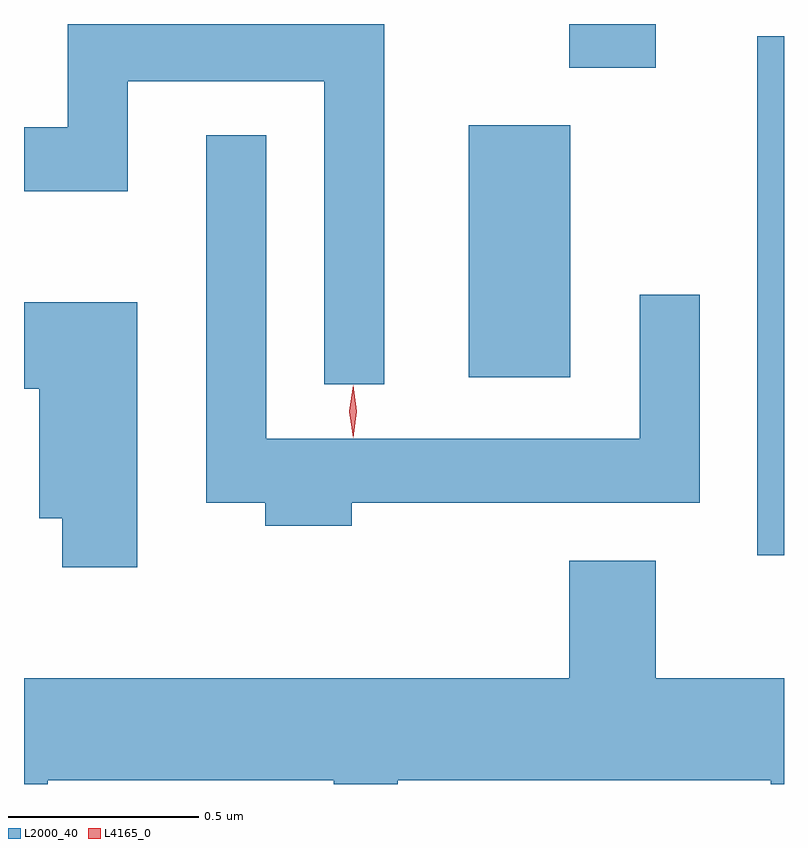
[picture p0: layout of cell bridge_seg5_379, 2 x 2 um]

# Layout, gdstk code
import gdstk
lib = gdstk.Library(unit=1e-6, precision=1e-09)
def R(c, l, rs):  # rectangles x0, y0, x1, y1
    for r in rs: c.add(gdstk.rectangle(r[:2], r[2:], *l))
def P(c, l, *ps):  # polygons
    for p in ps: c.add(gdstk.Polygon(p, *l))
L2000_40 = (2000, 40)
L4165_0 = (4165, 0)

bridge_seg5_379 = lib.new_cell('bridge_seg5_379')
R(bridge_seg5_379, L2000_40, [(763.616,1455.168,763.686,1456.534), (762.856,1455.636,763.124,1456.299), (763.121,1456.451,763.349,1456.566)])
P(bridge_seg5_379, L2000_40, [(762.634,1456.566),(761.801,1456.566),(761.801,1456.294),(761.686,1456.294),(761.686,1456.126),(761.959,1456.126),(761.959,1456.416),(762.476,1456.416),(762.476,1455.618),(762.634,1455.618)],
  [(762.549,1455.306),(763.464,1455.306),(763.464,1455.853),(763.306,1455.853),(763.306,1455.474),(762.324,1455.474),(762.324,1456.273),(762.166,1456.273),(762.166,1455.306),(762.321,1455.306),(762.321,1455.246),(762.549,1455.246)],
  [(761.984,1455.834),(761.686,1455.834),(761.686,1455.606),(761.726,1455.606),(761.726,1455.266),(761.786,1455.266),(761.786,1455.136),(761.984,1455.136)],
  [(761.749,1454.576),(762.501,1454.576),(762.501,1454.566),(762.669,1454.566),(762.669,1454.576),(763.651,1454.576),(763.651,1454.566),(763.686,1454.566),(763.686,1454.844),(763.349,1454.844),(763.349,1455.154),(763.121,1455.154),(763.121,1454.844),(761.686,1454.844),(761.686,1454.566),(761.749,1454.566)])
P(bridge_seg5_379, L4165_0, [(762.552,1455.48),(762.552,1455.48),(762.542,1455.546),(762.552,1455.613),(762.552,1455.613),(762.553,1455.613),(762.562,1455.546),(762.553,1455.48)],
  [(762.552,1455.477),(762.552,1455.477),(762.542,1455.547),(762.552,1455.616),(762.552,1455.616),(762.553,1455.616),(762.562,1455.547),(762.553,1455.477)])

lib.write_gds('bridge_seg5_379.gds')
